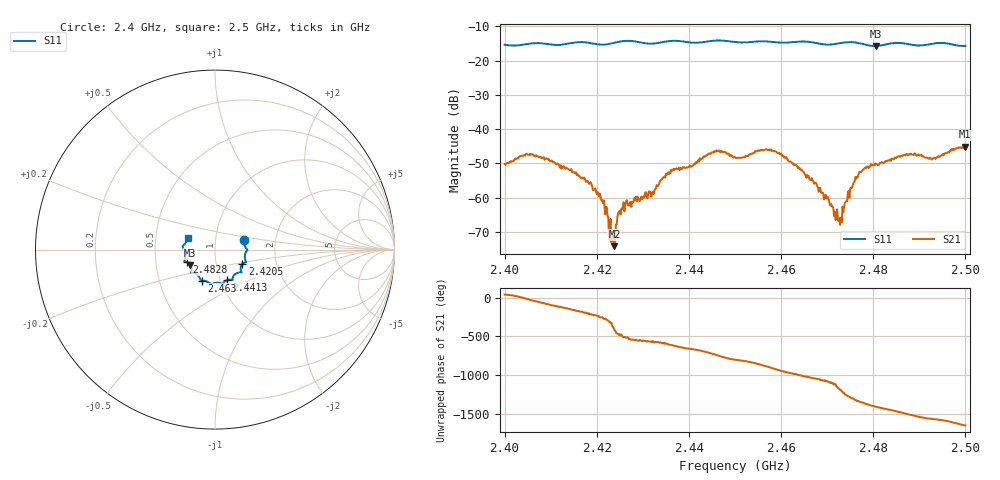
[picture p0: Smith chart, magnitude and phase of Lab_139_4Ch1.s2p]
# Hz S RI R 50
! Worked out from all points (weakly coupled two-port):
!   601 points, 2.4 GHz to 2.5 GHz, reference 50 ohm
!   highest |S21| = -45.14 dB at 2.4998 GHz (marker M1); lowest = -74.2 dB at 2.4238 GHz (marker M2)
!   lowest |S11| = -15.7 dB at 2.4805 GHz (marker M3), VSWR 1.39, Z = 37.3 - j6.68 ohm
!   |S11| at or under -10 dB: start of sweep to end of sweep
!   S12 and S22 are empty: the file has one direction only
!   S11 on the Smith chart (normalised r, x): 2.4 GHz: 1.38, +0.15; 2.4205 GHz: 1.34, -0.22; 2.4413 GHz: 1.08, -0.38; 2.463 GHz: 0.82, -0.29; 2.4828 GHz: 0.72, -0.10; 2.5 GHz: 0.73, +0.10
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2.4e9  0.1628 0.0525  0.00243 0.00191  0 0  0 0
2.406e9  0.1794 0.000987  0.00342 -0.0026  0 0  0 0
2.416667e9  0.1734 -0.0696  -0.00191 7.16e-05  0 0  0 0
2.4205e9  0.152 -0.0809  -0.0005 0.000913  0 0  0 0
2.422e9  0.1444 -0.0943  0.000128 0.000715  0 0  0 0
2.423167e9  0.143 -0.1067  0.000182 0.000126  0 0  0 0
2.423833e9  0.1437 -0.1132  0.000104 -0.000165  0 0  0 0
2.426e9  0.148 -0.1257  -0.000541 -0.000321  0 0  0 0
2.433333e9  0.1003 -0.1514  -0.00126 0.000804  0 0  0 0
2.441333e9  0.0676 -0.1697  0.00199 0.00235  0 0  0 0
2.446e9  0.0417 -0.1924  0.00457 -0.00166  0 0  0 0
2.45e9  0.0246 -0.1856  0.000722 -0.00386  0 0  0 0
2.457333e9  -0.0269 -0.1882  -0.00493 -0.000326  0 0  0 0
2.463e9  -0.0721 -0.1737  -0.000309 0.00298  0 0  0 0
2.466667e9  -0.0816 -0.1672  0.00134 0.00138  0 0  0 0
2.472667e9  -0.1237 -0.1301  -5.46e-05 -0.000498  0 0  0 0
2.476667e9  -0.1318 -0.1253  -0.000711 0.00186  0 0  0 0
2.4805e9  -0.1383 -0.0871  0.00256 0.00183  0 0  0 0
2.482833e9  -0.1586 -0.0702  0.0034 0.000304  0 0  0 0
2.483333e9  -0.1624 -0.0684  0.00349 -0.000179  0 0  0 0
2.499833e9  -0.1528 0.0614  -0.00499 0.00238  0 0  0 0
2.5e9  -0.152 0.0637  -0.0048 0.00236  0 0  0 0
